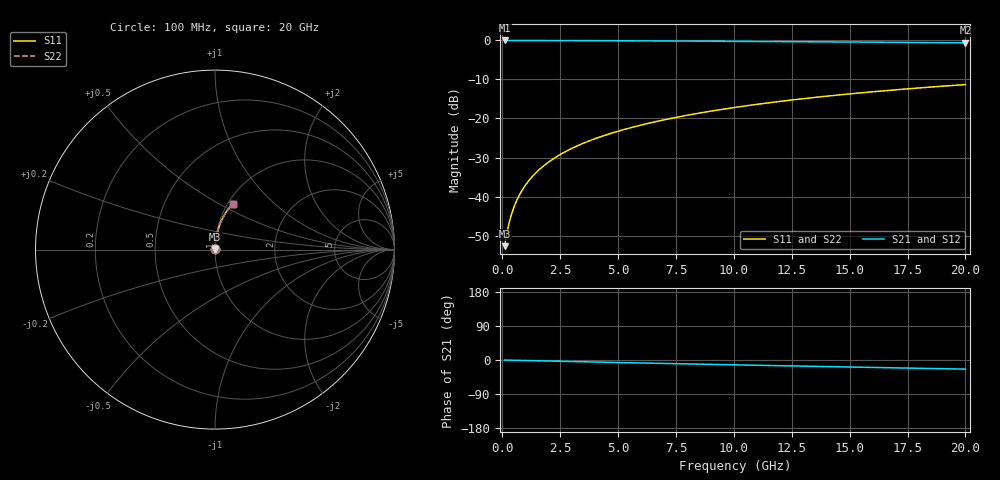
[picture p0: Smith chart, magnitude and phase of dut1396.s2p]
! Touchstone file exported from HFSS 2024.1.0
!  File:  C:/UserFiles/LocalFiles/RDL_TSV_Batchsim/temp_RDL_bottom_1396_1780372286.aedt
!  Generated:  11:53:51 AM Jun  2, 2026
!  Design:  RDL_bottom
!  Project:  temp_RDL_bottom_1396_1780372286
!  Setup:  Setup1
!  Solution:  Sweep
! Variables:
!  dtsv = 10.80580581um
!  hbump = 3um
!  htsv = 72.9um
!  ldown = 321.08um
!  lrdl = 100um
!  p = 40
!  p1 = 40.85um
!  rhole = 1um
!  t = 450um
!  tdown = 4.88um
!  trdl = 3.915915916um
!  wdown = 13.68um
!  wrdl = 20um
# GHz S MA R 50.000000
! Terminal data exported
! Port[1] = RDL1_T1
! Port[2] = RDL1_T2
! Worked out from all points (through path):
!   200 points, 100 MHz to 20 GHz, reference 50 ohm
!   highest |S21| = -0.02 dB at 100 MHz (marker M1); lowest = -0.6 dB at 20 GHz (marker M2)
!   group delay of S21, straight-line fit = 3.32 ps
!   lowest |S11| = -52.7 dB at 100 MHz (marker M3), VSWR 1.00, Z = 50.2 + j0.145 ohm
!   |S11| at or under -10 dB: start of sweep to end of sweep
!   |S22| runs from -52.7 to -11.3 dB; largest |S21 - S12| = 2.7e-15
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0.1  0.002317 38.7  0.9982 -0.1  0.9982 -0.1  0.002317 38.7
! Gamma 0 0 0 0
! Port Impedance 50 0 50 0
0.2  0.003419 56.9  0.9981 -0.3  0.9981 -0.3  0.003419 56.9
0.3  0.004667 65.6  0.9981 -0.4  0.9981 -0.4  0.004667 65.6
0.4  0.00596 70.6  0.998 -0.6  0.998 -0.6  0.00596 70.6
0.5  0.007277 73.9  0.9979 -0.7  0.9979 -0.7  0.007277 73.9
0.6  0.008608 76.1  0.9978 -0.8  0.9978 -0.8  0.008608 76.1
0.8  0.0113 79.0  0.9977 -1.1  0.9977 -1.1  0.0113 79.0
1.1  0.01537 81.4  0.9975 -1.5  0.9975 -1.5  0.01537 81.4
1.5  0.02083 82.9  0.9971 -2.0  0.9971 -2.0  0.02083 82.9
1.8  0.02493 83.5  0.9967 -2.4  0.9967 -2.4  0.02493 83.5
2.1  0.02904 83.9  0.9963 -2.8  0.9963 -2.8  0.02904 83.9
2.7  0.03725 84.2  0.9953 -3.6  0.9953 -3.6  0.03724 84.2
3.5  0.04819 84.1  0.9937 -4.7  0.9937 -4.7  0.04819 84.1
4.2  0.05777 83.9  0.9921 -5.6  0.9921 -5.6  0.05776 83.9
5  0.06873 83.5  0.9899 -6.6  0.9899 -6.6  0.06873 83.5
5.9  0.0811 82.9  0.9873 -7.8  0.9873 -7.8  0.0811 82.9
6.8  0.09352 82.3  0.9845 -8.9  0.9845 -8.9  0.09352 82.3
8.3  0.1143 81.1  0.9794 -10.7  0.9794 -10.7  0.1143 81.1
10.1  0.1393 79.4  0.973 -12.9  0.973 -12.9  0.1393 79.4
13.4  0.1848 76.1  0.9601 -16.7  0.9601 -16.7  0.1848 76.1
16.7  0.2291 72.5  0.9463 -20.4  0.9463 -20.4  0.2291 72.5
20  0.2716 68.9  0.9316 -24.1  0.9316 -24.1  0.2716 68.8
